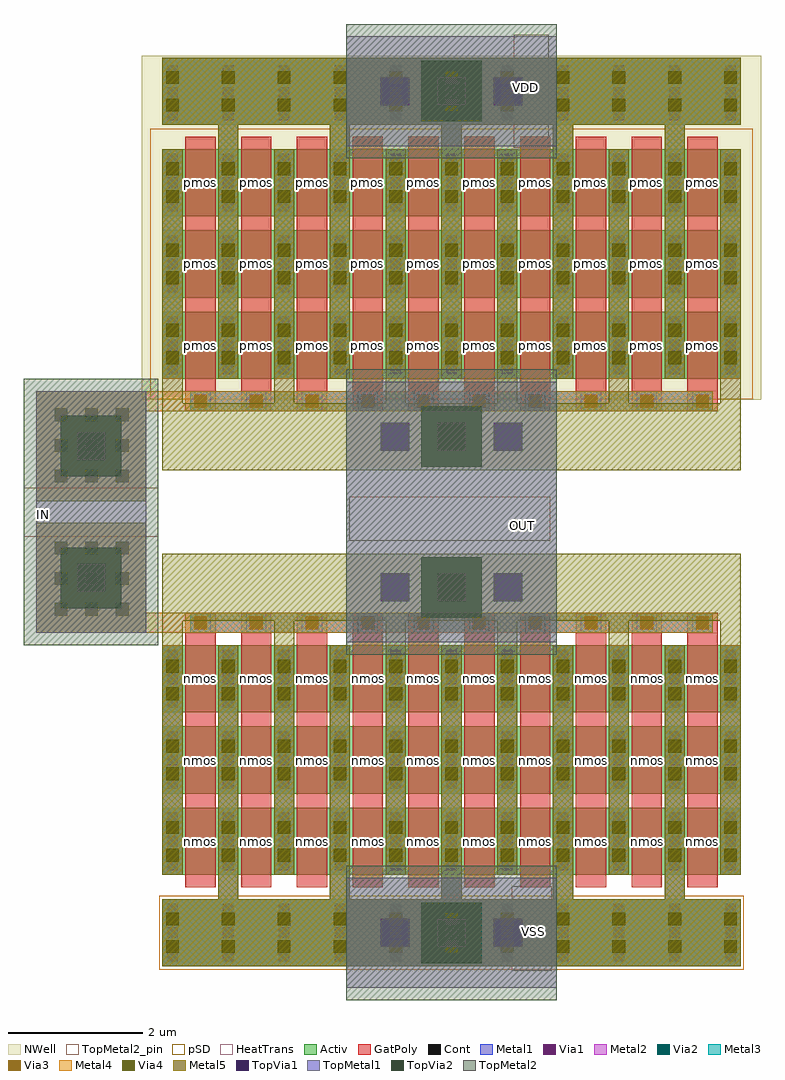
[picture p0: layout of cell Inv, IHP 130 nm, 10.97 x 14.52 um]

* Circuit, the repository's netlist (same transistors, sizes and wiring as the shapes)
** sch_path: /workspaces/usm-vlsi-tools/shared_xserver/simulations/Projects/IHP/IPD413_202501/xschem/Ayudantias/Ayudantia_3/Inv.sch
.subckt Inv IN OUT VDD VSS
*.PININFO VDD:B VSS:B OUT:O IN:I
M1 OUT IN VDD VDD sg13_lv_pmos l=0.45u w=1.0u ng=1 m=30
M2 OUT IN VSS VSS sg13_lv_nmos l=0.45u w=1.0u ng=1 m=30
.ends
.end

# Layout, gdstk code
import gdstk
lib = gdstk.Library(unit=1e-6, precision=1e-09)
def R(c, l, rs):  # rectangles x0, y0, x1, y1
    for r in rs: c.add(gdstk.rectangle(r[:2], r[2:], *l))
def A(c, l, x, y, w, h, nx, ny, dx, dy):  # array of equal rectangles
    R(c, l, [(x+i*dx, y+j*dy, x+i*dx+w, y+j*dy+h) for i in range(nx) for j in range(ny)])
def P(c, l, *ps):  # polygons
    for p in ps: c.add(gdstk.Polygon(p, *l))
Activ = (1, 0)
GatPoly = (5, 0)
Cont = (6, 0)
Metal1 = (8, 0)
Metal2 = (10, 0)
pSD = (14, 0)
Via1 = (19, 0)
Via2 = (29, 0)
Metal3 = (30, 0)
NWell = (31, 0)
Via3 = (49, 0)
Metal4 = (50, 0)
HeatTrans = (51, 0)
Via4 = (66, 0)
Metal5 = (67, 0)
TopVia1 = (125, 0)
TopMetal1 = (126, 0)
TopVia2 = (133, 0)
TopMetal2 = (134, 0)
TopMetal2_pin = (134, 2)

inv = lib.new_cell('Inv')
A(inv, Activ, 93.17, -3.35, 8.6, 1, 1, 3, 0, 1.21)
A(inv, Activ, 93.17, 4.03, 8.6, 1, 1, 3, 0, 1.21)
R(inv, Activ, [(93.17,-4.71,101.77,-3.71), (93.17,7.81,101.77,8.81)])
A(inv, GatPoly, 93.51, -3.53, 0.45, 4.08, 10, 2, 0.83, 7.08)
A(inv, Cont, 93.24, -3.28, 0.16, 0.16, 11, 3, 0.83, 0.35)
A(inv, Cont, 93.24, -2.07, 0.16, 0.16, 11, 3, 0.83, 0.35)
A(inv, Cont, 93.24, -0.86, 0.16, 0.16, 11, 3, 0.83, 0.35)
A(inv, Cont, 93.655, 0.32, 0.16, 0.16, 10, 2, 0.83, 3.3)
A(inv, Cont, 93.24, 4.1, 0.16, 0.16, 11, 3, 0.83, 0.35)
A(inv, Cont, 93.24, 5.31, 0.16, 0.16, 11, 3, 0.83, 0.35)
A(inv, Cont, 93.24, 6.52, 0.16, 0.16, 11, 3, 0.83, 0.35)
R(inv, Cont, [(93.24,-4.64,93.4,-4.48), (93.24,-4.64,93.4,-4.48), (93.24,-4.64,93.4,-4.48), (93.24,-4.64,93.4,-4.48), (94.07,-4.64,94.23,-4.48), (94.07,-4.64,94.23,-4.48), (94.07,-4.64,94.23,-4.48), (94.07,-4.64,94.23,-4.48), (94.9,-4.64,95.06,-4.48), (94.9,-4.64,95.06,-4.48), (94.9,-4.64,95.06,-4.48), (94.9,-4.64,95.06,-4.48), (95.73,-4.64,95.89,-4.48), (95.73,-4.64,95.89,-4.48), (95.73,-4.64,95.89,-4.48), (95.73,-4.64,95.89,-4.48), (96.56,-4.64,96.72,-4.48), (96.56,-4.64,96.72,-4.48), (96.56,-4.64,96.72,-4.48), (96.56,-4.64,96.72,-4.48), (97.39,-4.64,97.55,-4.48), (97.39,-4.64,97.55,-4.48), (97.39,-4.64,97.55,-4.48), (97.39,-4.64,97.55,-4.48), (98.22,-4.64,98.38,-4.48), (98.22,-4.64,98.38,-4.48), (98.22,-4.64,98.38,-4.48), (98.22,-4.64,98.38,-4.48), (99.05,-4.64,99.21,-4.48), (99.05,-4.64,99.21,-4.48), (99.05,-4.64,99.21,-4.48), (99.05,-4.64,99.21,-4.48), (99.88,-4.64,100.04,-4.48), (99.88,-4.64,100.04,-4.48), (99.88,-4.64,100.04,-4.48), (99.88,-4.64,100.04,-4.48), (100.71,-4.64,100.87,-4.48), (100.71,-4.64,100.87,-4.48), (100.71,-4.64,100.87,-4.48), (100.71,-4.64,100.87,-4.48), (101.54,-4.64,101.7,-4.48), (101.54,-4.64,101.7,-4.48), (101.54,-4.64,101.7,-4.48), (101.54,-4.64,101.7,-4.48), (93.24,-4.29,93.4,-4.13), (93.24,-4.29,93.4,-4.13), (94.07,-4.29,94.23,-4.13), (94.07,-4.29,94.23,-4.13), (94.9,-4.29,95.06,-4.13), (94.9,-4.29,95.06,-4.13), (95.73,-4.29,95.89,-4.13), (95.73,-4.29,95.89,-4.13), (96.56,-4.29,96.72,-4.13), (96.56,-4.29,96.72,-4.13), (97.39,-4.29,97.55,-4.13), (97.39,-4.29,97.55,-4.13), (98.22,-4.29,98.38,-4.13), (98.22,-4.29,98.38,-4.13), (99.05,-4.29,99.21,-4.13), (99.05,-4.29,99.21,-4.13), (99.88,-4.29,100.04,-4.13), (99.88,-4.29,100.04,-4.13), (100.71,-4.29,100.87,-4.13), (100.71,-4.29,100.87,-4.13), (101.54,-4.29,101.7,-4.13), (101.54,-4.29,101.7,-4.13), (93.24,-3.94,93.4,-3.78), (93.24,-3.94,93.4,-3.78), (94.07,-3.94,94.23,-3.78), (94.07,-3.94,94.23,-3.78), (94.9,-3.94,95.06,-3.78), (94.9,-3.94,95.06,-3.78), (95.73,-3.94,95.89,-3.78), (95.73,-3.94,95.89,-3.78), (96.56,-3.94,96.72,-3.78), (96.56,-3.94,96.72,-3.78), (97.39,-3.94,97.55,-3.78), (97.39,-3.94,97.55,-3.78), (98.22,-3.94,98.38,-3.78), (98.22,-3.94,98.38,-3.78), (99.05,-3.94,99.21,-3.78), (99.05,-3.94,99.21,-3.78), (99.88,-3.94,100.04,-3.78), (99.88,-3.94,100.04,-3.78), (100.71,-3.94,100.87,-3.78), (100.71,-3.94,100.87,-3.78), (101.54,-3.94,101.7,-3.78), (101.54,-3.94,101.7,-3.78), (93.24,7.88,93.4,8.04), (93.24,7.88,93.4,8.04), (94.07,7.88,94.23,8.04), (94.07,7.88,94.23,8.04), (94.9,7.88,95.06,8.04), (94.9,7.88,95.06,8.04), (95.73,7.88,95.89,8.04), (95.73,7.88,95.89,8.04), (96.56,7.88,96.72,8.04), (96.56,7.88,96.72,8.04), (97.39,7.88,97.55,8.04), (97.39,7.88,97.55,8.04), (98.22,7.88,98.38,8.04), (98.22,7.88,98.38,8.04), (99.05,7.88,99.21,8.04), (99.05,7.88,99.21,8.04), (99.88,7.88,100.04,8.04), (99.88,7.88,100.04,8.04), (100.71,7.88,100.87,8.04), (100.71,7.88,100.87,8.04), (101.54,7.88,101.7,8.04), (101.54,7.88,101.7,8.04), (93.24,8.21,93.4,8.37), (93.24,8.21,93.4,8.37), (94.07,8.21,94.23,8.37), (94.07,8.21,94.23,8.37), (94.9,8.21,95.06,8.37), (94.9,8.21,95.06,8.37), (95.73,8.21,95.89,8.37), (95.73,8.21,95.89,8.37), (96.56,8.21,96.72,8.37), (96.56,8.21,96.72,8.37), (97.39,8.21,97.55,8.37), (97.39,8.21,97.55,8.37), (98.22,8.21,98.38,8.37), (98.22,8.21,98.38,8.37), (99.05,8.21,99.21,8.37), (99.05,8.21,99.21,8.37), (99.88,8.21,100.04,8.37), (99.88,8.21,100.04,8.37), (100.71,8.21,100.87,8.37), (100.71,8.21,100.87,8.37), (101.54,8.21,101.7,8.37), (101.54,8.21,101.7,8.37), (93.24,8.54,93.4,8.7), (93.24,8.54,93.4,8.7), (94.07,8.54,94.23,8.7), (94.07,8.54,94.23,8.7), (94.9,8.54,95.06,8.7), (94.9,8.54,95.06,8.7), (95.73,8.54,95.89,8.7), (95.73,8.54,95.89,8.7), (96.56,8.54,96.72,8.7), (96.56,8.54,96.72,8.7), (97.39,8.54,97.55,8.7), (97.39,8.54,97.55,8.7), (98.22,8.54,98.38,8.7), (98.22,8.54,98.38,8.7), (99.05,8.54,99.21,8.7), (99.05,8.54,99.21,8.7), (99.88,8.54,100.04,8.7), (99.88,8.54,100.04,8.7), (100.71,8.54,100.87,8.7), (100.71,8.54,100.87,8.7), (101.54,8.54,101.7,8.7), (101.54,8.54,101.7,8.7)])
A(inv, Metal1, 93.17, -3.35, 0.3, 3.42, 6, 2, 1.66, 7.38)
A(inv, Metal1, 93.585, 0.25, 0.3, 0.3, 10, 2, 0.83, 3.3)
P(inv, Metal1, [(93.17,-4.71),(93.17,-3.71),(94,-3.71),(94,0.07),(94.3,0.07),(94.3,-3.71),(95.66,-3.71),(95.66,0.07),(95.96,0.07),(95.96,-3.71),(97.32,-3.71),(97.32,0.07),(97.62,0.07),(97.62,-3.71),(98.98,-3.71),(98.98,0.07),(99.28,0.07),(99.28,-3.71),(100.64,-3.71),(100.64,0.07),(100.94,0.07),(100.94,-3.71),(101.77,-3.71),(101.77,-4.71)],
  [(94,4.03),(94,7.81),(93.17,7.81),(93.17,8.81),(101.77,8.81),(101.77,7.81),(100.94,7.81),(100.94,4.03),(100.64,4.03),(100.64,7.81),(99.28,7.81),(99.28,4.03),(98.98,4.03),(98.98,7.81),(97.62,7.81),(97.62,4.03),(97.32,4.03),(97.32,7.81),(95.96,7.81),(95.96,4.03),(95.66,4.03),(95.66,7.81),(94.3,7.81),(94.3,4.03)])
A(inv, Metal2, 93.17, -3.35, 0.3, 3.42, 6, 2, 1.66, 7.38)
R(inv, Metal2, [(93.585,0.25,101.355,0.55), (93.585,3.55,101.355,3.85)])
P(inv, Metal2, [(93.17,-4.71),(93.17,-3.71),(94,-3.71),(94,0.07),(94.3,0.07),(94.3,-3.71),(95.66,-3.71),(95.66,0.07),(95.96,0.07),(95.96,-3.71),(97.32,-3.71),(97.32,0.07),(97.62,0.07),(97.62,-3.71),(98.98,-3.71),(98.98,0.07),(99.28,0.07),(99.28,-3.71),(100.64,-3.71),(100.64,0.07),(100.94,0.07),(100.94,-3.71),(101.77,-3.71),(101.77,-4.71)],
  [(94,4.03),(94,7.81),(93.17,7.81),(93.17,8.81),(101.77,8.81),(101.77,7.81),(100.94,7.81),(100.94,4.03),(100.64,4.03),(100.64,7.81),(99.28,7.81),(99.28,4.03),(98.98,4.03),(98.98,7.81),(97.62,7.81),(97.62,4.03),(97.32,4.03),(97.32,7.81),(95.96,7.81),(95.96,4.03),(95.66,4.03),(95.66,7.81),(94.3,7.81),(94.3,4.03)])
R(inv, pSD, [(93.12,-4.76,101.82,-3.66), (92.99,3.73,101.95,7.75)])
A(inv, Via1, 93.225, -4.51, 0.19, 0.19, 11, 2, 0.83, 0.41)
A(inv, Via1, 93.225, -3.15, 0.19, 0.19, 11, 2, 0.83, 0.41)
A(inv, Via1, 93.225, -1.94, 0.19, 0.19, 11, 2, 0.83, 0.41)
A(inv, Via1, 93.225, -0.75, 0.19, 0.19, 11, 2, 0.83, 0.41)
A(inv, Via1, 93.64, 0.305, 0.19, 0.19, 10, 1, 0.83, 0)
R(inv, Via1, [(93.225,-0.75,93.415,-0.56), (93.64,3.605,93.83,3.795), (93.64,3.605,93.83,3.795), (94.47,3.605,94.66,3.795), (94.47,3.605,94.66,3.795), (95.3,3.605,95.49,3.795), (95.3,3.605,95.49,3.795), (96.13,3.605,96.32,3.795), (96.13,3.605,96.32,3.795), (96.96,3.605,97.15,3.795), (96.96,3.605,97.15,3.795), (97.79,3.605,97.98,3.795), (97.79,3.605,97.98,3.795), (98.62,3.605,98.81,3.795), (98.62,3.605,98.81,3.795), (99.45,3.605,99.64,3.795), (99.45,3.605,99.64,3.795), (100.28,3.605,100.47,3.795), (100.28,3.605,100.47,3.795), (101.11,3.605,101.3,3.795), (101.11,3.605,101.3,3.795), (93.225,4.25,93.415,4.44), (93.225,4.25,93.415,4.44), (94.055,4.25,94.245,4.44), (94.055,4.25,94.245,4.44), (94.885,4.25,95.075,4.44), (94.885,4.25,95.075,4.44), (95.715,4.25,95.905,4.44), (95.715,4.25,95.905,4.44), (96.545,4.25,96.735,4.44), (96.545,4.25,96.735,4.44), (97.375,4.25,97.565,4.44), (97.375,4.25,97.565,4.44), (98.205,4.25,98.395,4.44), (98.205,4.25,98.395,4.44), (99.035,4.25,99.225,4.44), (99.035,4.25,99.225,4.44), (99.865,4.25,100.055,4.44), (99.865,4.25,100.055,4.44), (100.695,4.25,100.885,4.44), (100.695,4.25,100.885,4.44), (101.525,4.25,101.715,4.44), (101.525,4.25,101.715,4.44), (93.225,4.66,93.415,4.85), (93.225,4.66,93.415,4.85), (93.225,4.66,93.415,4.85), (93.225,4.66,93.415,4.85), (94.055,4.66,94.245,4.85), (94.055,4.66,94.245,4.85), (94.885,4.66,95.075,4.85), (94.885,4.66,95.075,4.85), (95.715,4.66,95.905,4.85), (95.715,4.66,95.905,4.85), (96.545,4.66,96.735,4.85), (96.545,4.66,96.735,4.85), (97.375,4.66,97.565,4.85), (97.375,4.66,97.565,4.85), (98.205,4.66,98.395,4.85), (98.205,4.66,98.395,4.85), (99.035,4.66,99.225,4.85), (99.035,4.66,99.225,4.85), (99.865,4.66,100.055,4.85), (99.865,4.66,100.055,4.85), (100.695,4.66,100.885,4.85), (100.695,4.66,100.885,4.85), (101.525,4.66,101.715,4.85), (101.525,4.66,101.715,4.85), (93.225,5.44,93.415,5.63), (93.225,5.44,93.415,5.63), (94.055,5.44,94.245,5.63), (94.055,5.44,94.245,5.63), (94.885,5.44,95.075,5.63), (94.885,5.44,95.075,5.63), (95.715,5.44,95.905,5.63), (95.715,5.44,95.905,5.63), (96.545,5.44,96.735,5.63), (96.545,5.44,96.735,5.63), (97.375,5.44,97.565,5.63), (97.375,5.44,97.565,5.63), (98.205,5.44,98.395,5.63), (98.205,5.44,98.395,5.63), (99.035,5.44,99.225,5.63), (99.035,5.44,99.225,5.63), (99.865,5.44,100.055,5.63), (99.865,5.44,100.055,5.63), (100.695,5.44,100.885,5.63), (100.695,5.44,100.885,5.63), (101.525,5.44,101.715,5.63), (101.525,5.44,101.715,5.63), (93.225,5.85,93.415,6.04), (93.225,5.85,93.415,6.04), (94.055,5.85,94.245,6.04), (94.055,5.85,94.245,6.04), (94.885,5.85,95.075,6.04), (94.885,5.85,95.075,6.04), (95.715,5.85,95.905,6.04), (95.715,5.85,95.905,6.04), (96.545,5.85,96.735,6.04), (96.545,5.85,96.735,6.04), (97.375,5.85,97.565,6.04), (97.375,5.85,97.565,6.04), (98.205,5.85,98.395,6.04), (98.205,5.85,98.395,6.04), (99.035,5.85,99.225,6.04), (99.035,5.85,99.225,6.04), (99.865,5.85,100.055,6.04), (99.865,5.85,100.055,6.04), (100.695,5.85,100.885,6.04), (100.695,5.85,100.885,6.04), (101.525,5.85,101.715,6.04), (101.525,5.85,101.715,6.04), (93.225,6.65,93.415,6.84), (93.225,6.65,93.415,6.84), (94.055,6.65,94.245,6.84), (94.055,6.65,94.245,6.84), (94.885,6.65,95.075,6.84), (94.885,6.65,95.075,6.84), (95.715,6.65,95.905,6.84), (95.715,6.65,95.905,6.84), (96.545,6.65,96.735,6.84), (96.545,6.65,96.735,6.84), (97.375,6.65,97.565,6.84), (97.375,6.65,97.565,6.84), (98.205,6.65,98.395,6.84), (98.205,6.65,98.395,6.84), (99.035,6.65,99.225,6.84), (99.035,6.65,99.225,6.84), (99.865,6.65,100.055,6.84), (99.865,6.65,100.055,6.84), (100.695,6.65,100.885,6.84), (100.695,6.65,100.885,6.84), (101.525,6.65,101.715,6.84), (101.525,6.65,101.715,6.84), (93.225,7.06,93.415,7.25), (93.225,7.06,93.415,7.25), (94.055,7.06,94.245,7.25), (94.055,7.06,94.245,7.25), (94.885,7.06,95.075,7.25), (94.885,7.06,95.075,7.25), (95.715,7.06,95.905,7.25), (95.715,7.06,95.905,7.25), (96.545,7.06,96.735,7.25), (96.545,7.06,96.735,7.25), (97.375,7.06,97.565,7.25), (97.375,7.06,97.565,7.25), (98.205,7.06,98.395,7.25), (98.205,7.06,98.395,7.25), (99.035,7.06,99.225,7.25), (99.035,7.06,99.225,7.25), (99.865,7.06,100.055,7.25), (99.865,7.06,100.055,7.25), (100.695,7.06,100.885,7.25), (100.695,7.06,100.885,7.25), (101.525,7.06,101.715,7.25), (101.525,7.06,101.715,7.25), (93.225,8.01,93.415,8.2), (93.225,8.01,93.415,8.2), (94.055,8.01,94.245,8.2), (94.055,8.01,94.245,8.2), (94.885,8.01,95.075,8.2), (94.885,8.01,95.075,8.2), (95.715,8.01,95.905,8.2), (95.715,8.01,95.905,8.2), (96.545,8.01,96.735,8.2), (96.545,8.01,96.735,8.2), (97.375,8.01,97.565,8.2), (97.375,8.01,97.565,8.2), (98.205,8.01,98.395,8.2), (98.205,8.01,98.395,8.2), (99.035,8.01,99.225,8.2), (99.035,8.01,99.225,8.2), (99.865,8.01,100.055,8.2), (99.865,8.01,100.055,8.2), (100.695,8.01,100.885,8.2), (100.695,8.01,100.885,8.2), (101.525,8.01,101.715,8.2), (101.525,8.01,101.715,8.2), (93.225,8.42,93.415,8.61), (93.225,8.42,93.415,8.61), (94.055,8.42,94.245,8.61), (94.055,8.42,94.245,8.61), (94.885,8.42,95.075,8.61), (94.885,8.42,95.075,8.61), (95.715,8.42,95.905,8.61), (95.715,8.42,95.905,8.61), (96.545,8.42,96.735,8.61), (96.545,8.42,96.735,8.61), (97.375,8.42,97.565,8.61), (97.375,8.42,97.565,8.61), (98.205,8.42,98.395,8.61), (98.205,8.42,98.395,8.61), (99.035,8.42,99.225,8.61), (99.035,8.42,99.225,8.61), (99.865,8.42,100.055,8.61), (99.865,8.42,100.055,8.61), (100.695,8.42,100.885,8.61), (100.695,8.42,100.885,8.61), (101.525,8.42,101.715,8.61), (101.525,8.42,101.715,8.61)])
A(inv, Via2, 93.225, -4.51, 0.19, 0.19, 11, 2, 0.83, 0.41)
A(inv, Via2, 93.225, -3.15, 0.19, 0.19, 11, 2, 0.83, 0.41)
A(inv, Via2, 93.225, -1.94, 0.19, 0.19, 11, 2, 0.83, 0.41)
A(inv, Via2, 93.225, -0.75, 0.19, 0.19, 11, 2, 0.83, 0.41)
A(inv, Via2, 93.64, 0.305, 0.19, 0.19, 10, 2, 0.83, 3.3)
A(inv, Via2, 93.225, 4.25, 0.19, 0.19, 11, 2, 0.83, 0.41)
A(inv, Via2, 93.225, 5.44, 0.19, 0.19, 11, 2, 0.83, 0.41)
A(inv, Via2, 93.225, 6.65, 0.19, 0.19, 11, 2, 0.83, 0.41)
A(inv, Via2, 93.225, 8.01, 0.19, 0.19, 11, 2, 0.83, 0.41)
A(inv, Metal3, 93.17, -3.35, 0.3, 3.42, 6, 2, 1.66, 7.38)
R(inv, Metal3, [(93.585,0.25,101.355,0.55), (93.585,3.55,101.355,3.85)])
P(inv, Metal3, [(93.17,-4.71),(93.17,-3.71),(94,-3.71),(94,0.07),(94.3,0.07),(94.3,-3.71),(95.66,-3.71),(95.66,0.07),(95.96,0.07),(95.96,-3.71),(97.32,-3.71),(97.32,0.07),(97.62,0.07),(97.62,-3.71),(98.98,-3.71),(98.98,0.07),(99.28,0.07),(99.28,-3.71),(100.64,-3.71),(100.64,0.07),(100.94,0.07),(100.94,-3.71),(101.77,-3.71),(101.77,-4.71)],
  [(94,4.03),(94,7.81),(93.17,7.81),(93.17,8.81),(101.77,8.81),(101.77,7.81),(100.94,7.81),(100.94,4.03),(100.64,4.03),(100.64,7.81),(99.28,7.81),(99.28,4.03),(98.98,4.03),(98.98,7.81),(97.62,7.81),(97.62,4.03),(97.32,4.03),(97.32,7.81),(95.96,7.81),(95.96,4.03),(95.66,4.03),(95.66,7.81),(94.3,7.81),(94.3,4.03)])
R(inv, NWell, [(92.86,3.72,102.08,8.835)])
A(inv, Via3, 93.225, -4.51, 0.19, 0.19, 11, 2, 0.83, 0.41)
A(inv, Via3, 93.225, -3.15, 0.19, 0.19, 11, 2, 0.83, 0.41)
A(inv, Via3, 93.225, -0.75, 0.19, 0.19, 11, 2, 0.83, 0.41)
A(inv, Via3, 93.64, 0.305, 0.19, 0.19, 10, 2, 0.83, 3.3)
A(inv, Via3, 93.225, 4.25, 0.19, 0.19, 11, 2, 0.83, 0.41)
A(inv, Via3, 93.225, 6.65, 0.19, 0.19, 11, 2, 0.83, 0.41)
A(inv, Via3, 93.225, 8.01, 0.19, 0.19, 11, 2, 0.83, 0.41)
R(inv, Via3, [(93.225,-1.94,93.415,-1.75), (93.225,-1.94,93.415,-1.75), (94.055,-1.94,94.245,-1.75), (94.055,-1.94,94.245,-1.75), (94.885,-1.94,95.075,-1.75), (94.885,-1.94,95.075,-1.75), (95.715,-1.94,95.905,-1.75), (95.715,-1.94,95.905,-1.75), (96.545,-1.94,96.735,-1.75), (96.545,-1.94,96.735,-1.75), (97.375,-1.94,97.565,-1.75), (97.375,-1.94,97.565,-1.75), (98.205,-1.94,98.395,-1.75), (98.205,-1.94,98.395,-1.75), (99.035,-1.94,99.225,-1.75), (99.035,-1.94,99.225,-1.75), (99.865,-1.94,100.055,-1.75), (99.865,-1.94,100.055,-1.75), (100.695,-1.94,100.885,-1.75), (100.695,-1.94,100.885,-1.75), (101.525,-1.94,101.715,-1.75), (101.525,-1.94,101.715,-1.75), (93.225,-1.53,93.415,-1.34), (94.055,-1.53,94.245,-1.34), (94.055,-1.53,94.245,-1.34), (94.885,-1.53,95.075,-1.34), (94.885,-1.53,95.075,-1.34), (95.715,-1.53,95.905,-1.34), (95.715,-1.53,95.905,-1.34), (96.545,-1.53,96.735,-1.34), (96.545,-1.53,96.735,-1.34), (97.375,-1.53,97.565,-1.34), (97.375,-1.53,97.565,-1.34), (98.205,-1.53,98.395,-1.34), (98.205,-1.53,98.395,-1.34), (99.035,-1.53,99.225,-1.34), (99.035,-1.53,99.225,-1.34), (99.865,-1.53,100.055,-1.34), (99.865,-1.53,100.055,-1.34), (100.695,-1.53,100.885,-1.34), (100.695,-1.53,100.885,-1.34), (101.525,-1.53,101.715,-1.34), (101.525,-1.53,101.715,-1.34), (93.225,5.44,93.415,5.63), (94.055,5.44,94.245,5.63), (94.055,5.44,94.245,5.63), (94.885,5.44,95.075,5.63), (94.885,5.44,95.075,5.63), (95.715,5.44,95.905,5.63), (95.715,5.44,95.905,5.63), (96.545,5.44,96.735,5.63), (96.545,5.44,96.735,5.63), (97.375,5.44,97.565,5.63), (97.375,5.44,97.565,5.63), (98.205,5.44,98.395,5.63), (98.205,5.44,98.395,5.63), (99.035,5.44,99.225,5.63), (99.035,5.44,99.225,5.63), (99.865,5.44,100.055,5.63), (99.865,5.44,100.055,5.63), (100.695,5.44,100.885,5.63), (100.695,5.44,100.885,5.63), (101.525,5.44,101.715,5.63), (101.525,5.44,101.715,5.63), (93.225,5.85,93.415,6.04), (93.225,5.85,93.415,6.04), (94.055,5.85,94.245,6.04), (94.055,5.85,94.245,6.04), (94.885,5.85,95.075,6.04), (94.885,5.85,95.075,6.04), (95.715,5.85,95.905,6.04), (95.715,5.85,95.905,6.04), (96.545,5.85,96.735,6.04), (96.545,5.85,96.735,6.04), (97.375,5.85,97.565,6.04), (97.375,5.85,97.565,6.04), (98.205,5.85,98.395,6.04), (98.205,5.85,98.395,6.04), (99.035,5.85,99.225,6.04), (99.035,5.85,99.225,6.04), (99.865,5.85,100.055,6.04), (99.865,5.85,100.055,6.04), (100.695,5.85,100.885,6.04), (100.695,5.85,100.885,6.04), (101.525,5.85,101.715,6.04), (101.525,5.85,101.715,6.04)])
A(inv, Metal4, 93.17, -3.35, 0.3, 3.42, 6, 2, 1.66, 7.38)
P(inv, Metal4, [(93.17,-4.71),(93.17,-3.71),(94,-3.71),(94,0.07),(94.3,0.07),(94.3,-3.71),(95.66,-3.71),(95.66,0.07),(95.96,0.07),(95.96,-3.71),(97.32,-3.71),(97.32,0.07),(97.62,0.07),(97.62,-3.71),(98.98,-3.71),(98.98,0.07),(99.28,0.07),(99.28,-3.71),(100.64,-3.71),(100.64,0.07),(100.94,0.07),(100.94,-3.71),(101.77,-3.71),(101.77,-4.71)],
  [(91.29,0.25),(91.29,1.89),(92.93,1.89),(92.93,0.55),(101.355,0.55),(101.355,0.25)],
  [(91.29,2.21),(91.29,3.85),(101.355,3.85),(101.355,3.55),(92.93,3.55),(92.93,2.21)],
  [(94,4.03),(94,7.81),(93.17,7.81),(93.17,8.81),(101.77,8.81),(101.77,7.81),(100.94,7.81),(100.94,4.03),(100.64,4.03),(100.64,7.81),(99.28,7.81),(99.28,4.03),(98.98,4.03),(98.98,7.81),(97.62,7.81),(97.62,4.03),(97.32,4.03),(97.32,7.81),(95.96,7.81),(95.96,4.03),(95.66,4.03),(95.66,7.81),(94.3,7.81),(94.3,4.03)])
A(inv, HeatTrans, 93.51, -3.53, 0.45, 1.36, 10, 3, 0.83, 1.21)
A(inv, HeatTrans, 93.51, 3.85, 0.45, 1.36, 10, 3, 0.83, 1.21)
A(inv, Via4, 93.225, -4.51, 0.19, 0.19, 11, 2, 0.83, 0.41)
A(inv, Via4, 93.225, -3.15, 0.19, 0.19, 11, 2, 0.83, 0.41)
A(inv, Via4, 93.225, -1.94, 0.19, 0.19, 11, 2, 0.83, 0.41)
A(inv, Via4, 93.225, -0.75, 0.19, 0.19, 11, 2, 0.83, 0.41)
A(inv, Via4, 91.565, 0.51, 0.19, 0.19, 3, 3, 0.455, 0.455)
A(inv, Via4, 91.565, 2.49, 0.19, 0.19, 3, 3, 0.455, 0.455)
A(inv, Via4, 93.225, 4.25, 0.19, 0.19, 11, 2, 0.83, 0.41)
A(inv, Via4, 93.225, 5.44, 0.19, 0.19, 11, 2, 0.83, 0.41)
A(inv, Via4, 93.225, 6.65, 0.19, 0.19, 11, 2, 0.83, 0.41)
A(inv, Via4, 93.225, 8.01, 0.19, 0.19, 11, 2, 0.83, 0.41)
R(inv, Metal5, [(91.29,0.25,92.93,1.89), (91.29,2.21,92.93,3.85)])
P(inv, Metal5, [(93.17,-4.71),(93.17,-3.71),(94,-3.71),(94,0.07),(94.3,0.07),(94.3,-3.71),(95.66,-3.71),(95.66,0.07),(95.96,0.07),(95.96,-3.71),(97.32,-3.71),(97.32,0.07),(97.62,0.07),(97.62,-3.71),(98.98,-3.71),(98.98,0.07),(99.28,0.07),(99.28,-3.71),(100.64,-3.71),(100.64,0.07),(100.94,0.07),(100.94,-3.71),(101.77,-3.71),(101.77,-4.71)],
  [(93.17,-3.35),(93.17,1.43),(101.77,1.43),(101.77,-3.35),(101.47,-3.35),(101.47,0.43),(100.11,0.43),(100.11,-3.35),(99.81,-3.35),(99.81,0.43),(98.45,0.43),(98.45,-3.35),(98.15,-3.35),(98.15,0.43),(96.79,0.43),(96.79,-3.35),(96.49,-3.35),(96.49,0.43),(95.13,0.43),(95.13,-3.35),(94.83,-3.35),(94.83,0.43),(93.47,0.43),(93.47,-3.35)],
  [(93.17,2.67),(93.17,7.45),(93.47,7.45),(93.47,3.67),(94.83,3.67),(94.83,7.45),(95.13,7.45),(95.13,3.67),(96.49,3.67),(96.49,7.45),(96.79,7.45),(96.79,3.67),(98.15,3.67),(98.15,7.45),(98.45,7.45),(98.45,3.67),(99.81,3.67),(99.81,7.45),(100.11,7.45),(100.11,3.67),(101.47,3.67),(101.47,7.45),(101.77,7.45),(101.77,2.67)],
  [(94,4.03),(94,7.81),(93.17,7.81),(93.17,8.81),(101.77,8.81),(101.77,7.81),(100.94,7.81),(100.94,4.03),(100.64,4.03),(100.64,7.81),(99.28,7.81),(99.28,4.03),(98.98,4.03),(98.98,7.81),(97.62,7.81),(97.62,4.03),(97.32,4.03),(97.32,7.81),(95.96,7.81),(95.96,4.03),(95.66,4.03),(95.66,7.81),(94.3,7.81),(94.3,4.03)])
A(inv, TopVia1, 96.42, -4.42, 0.42, 0.42, 3, 2, 0.84, 5.14)
A(inv, TopVia1, 96.42, 2.96, 0.42, 0.42, 3, 2, 0.84, 5.14)
R(inv, TopVia1, [(91.9,0.86,92.32,1.28), (91.9,2.82,92.32,3.24)])
R(inv, TopMetal1, [(95.905,-5.03,99.035,-3.39), (95.905,0.11,99.035,3.99), (91.29,0.25,92.93,3.85), (95.905,7.49,99.035,9.13)])
R(inv, TopVia2, [(97.02,-4.66,97.92,-3.76), (97.02,0.48,97.92,1.38), (91.66,0.62,92.56,1.52), (91.66,2.58,92.56,3.48), (97.02,2.72,97.92,3.62), (97.02,7.86,97.92,8.76)])
R(inv, TopMetal2, [(95.905,-5.21,99.035,-3.21), (95.905,-0.07,99.035,4.17), (91.11,0.07,93.11,4.03), (95.905,7.31,99.035,9.31)])
R(inv, TopMetal2_pin, [(98.37,-4.775,98.96,-3.515), (95.95,1.625,98.94,2.28), (91.105,1.68,93.105,2.41), (98.395,7.47,98.92,9.15)])
inv.add(gdstk.Label('pmos', (93.735,6.95), layer=51, texttype=0))
inv.add(gdstk.Label('pmos', (94.565,6.95), layer=51, texttype=0))
inv.add(gdstk.Label('pmos', (95.395,6.95), layer=51, texttype=0))
inv.add(gdstk.Label('pmos', (96.225,6.95), layer=51, texttype=0))
inv.add(gdstk.Label('pmos', (97.055,6.95), layer=51, texttype=0))
inv.add(gdstk.Label('pmos', (97.885,6.95), layer=51, texttype=0))
inv.add(gdstk.Label('pmos', (98.715,6.95), layer=51, texttype=0))
inv.add(gdstk.Label('pmos', (99.545,6.95), layer=51, texttype=0))
inv.add(gdstk.Label('pmos', (100.375,6.95), layer=51, texttype=0))
inv.add(gdstk.Label('pmos', (101.205,6.95), layer=51, texttype=0))
inv.add(gdstk.Label('pmos', (100.375,5.74), layer=51, texttype=0))
inv.add(gdstk.Label('pmos', (100.375,4.53), layer=51, texttype=0))
inv.add(gdstk.Label('pmos', (101.205,5.74), layer=51, texttype=0))
inv.add(gdstk.Label('pmos', (101.205,4.53), layer=51, texttype=0))
inv.add(gdstk.Label('pmos', (93.735,5.74), layer=51, texttype=0))
inv.add(gdstk.Label('pmos', (93.735,4.53), layer=51, texttype=0))
inv.add(gdstk.Label('pmos', (94.565,5.74), layer=51, texttype=0))
inv.add(gdstk.Label('pmos', (94.565,4.53), layer=51, texttype=0))
inv.add(gdstk.Label('pmos', (95.395,5.74), layer=51, texttype=0))
inv.add(gdstk.Label('pmos', (95.395,4.53), layer=51, texttype=0))
inv.add(gdstk.Label('pmos', (96.225,5.74), layer=51, texttype=0))
inv.add(gdstk.Label('pmos', (96.225,4.53), layer=51, texttype=0))
inv.add(gdstk.Label('pmos', (97.055,5.74), layer=51, texttype=0))
inv.add(gdstk.Label('pmos', (97.055,4.53), layer=51, texttype=0))
inv.add(gdstk.Label('pmos', (97.885,5.74), layer=51, texttype=0))
inv.add(gdstk.Label('pmos', (97.885,4.53), layer=51, texttype=0))
inv.add(gdstk.Label('pmos', (98.715,5.74), layer=51, texttype=0))
inv.add(gdstk.Label('pmos', (98.715,4.53), layer=51, texttype=0))
inv.add(gdstk.Label('pmos', (99.545,5.74), layer=51, texttype=0))
inv.add(gdstk.Label('pmos', (99.545,4.53), layer=51, texttype=0))
inv.add(gdstk.Label('nmos', (94.57,-0.43), layer=51, texttype=0))
inv.add(gdstk.Label('nmos', (95.4,-0.43), layer=51, texttype=0))
inv.add(gdstk.Label('nmos', (96.23,-0.43), layer=51, texttype=0))
inv.add(gdstk.Label('nmos', (97.06,-0.43), layer=51, texttype=0))
inv.add(gdstk.Label('nmos', (97.89,-0.43), layer=51, texttype=0))
inv.add(gdstk.Label('nmos', (98.72,-0.43), layer=51, texttype=0))
inv.add(gdstk.Label('nmos', (99.55,-0.43), layer=51, texttype=0))
inv.add(gdstk.Label('nmos', (93.74,-1.64), layer=51, texttype=0))
inv.add(gdstk.Label('nmos', (94.57,-1.64), layer=51, texttype=0))
inv.add(gdstk.Label('nmos', (95.4,-1.64), layer=51, texttype=0))
inv.add(gdstk.Label('nmos', (96.23,-1.64), layer=51, texttype=0))
inv.add(gdstk.Label('nmos', (97.06,-1.64), layer=51, texttype=0))
inv.add(gdstk.Label('nmos', (97.89,-1.64), layer=51, texttype=0))
inv.add(gdstk.Label('nmos', (98.72,-1.64), layer=51, texttype=0))
inv.add(gdstk.Label('nmos', (99.55,-1.64), layer=51, texttype=0))
inv.add(gdstk.Label('nmos', (93.74,-0.43), layer=51, texttype=0))
inv.add(gdstk.Label('nmos', (101.21,-1.64), layer=51, texttype=0))
inv.add(gdstk.Label('nmos', (100.38,-0.43), layer=51, texttype=0))
inv.add(gdstk.Label('nmos', (101.21,-0.43), layer=51, texttype=0))
inv.add(gdstk.Label('nmos', (100.38,-1.64), layer=51, texttype=0))
inv.add(gdstk.Label('nmos', (95.4,-2.85), layer=51, texttype=0))
inv.add(gdstk.Label('nmos', (97.89,-2.85), layer=51, texttype=0))
inv.add(gdstk.Label('nmos', (94.57,-2.85), layer=51, texttype=0))
inv.add(gdstk.Label('nmos', (98.72,-2.85), layer=51, texttype=0))
inv.add(gdstk.Label('nmos', (96.23,-2.85), layer=51, texttype=0))
inv.add(gdstk.Label('nmos', (99.55,-2.85), layer=51, texttype=0))
inv.add(gdstk.Label('nmos', (93.74,-2.85), layer=51, texttype=0))
inv.add(gdstk.Label('nmos', (100.38,-2.85), layer=51, texttype=0))
inv.add(gdstk.Label('nmos', (97.06,-2.85), layer=51, texttype=0))
inv.add(gdstk.Label('nmos', (101.21,-2.85), layer=51, texttype=0))
inv.add(gdstk.Label('VDD', (98.57,8.365), layer=134, texttype=2))
inv.add(gdstk.Label('OUT', (98.52,1.85), layer=134, texttype=2))
inv.add(gdstk.Label('IN', (91.395,2.01), layer=134, texttype=2))
inv.add(gdstk.Label('VSS', (98.69,-4.19), layer=134, texttype=2))

lib.write_gds('Inv.gds')
